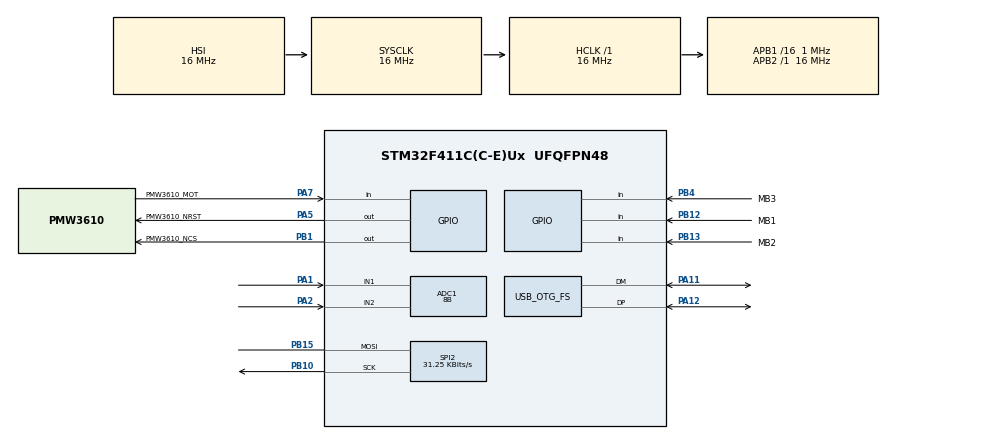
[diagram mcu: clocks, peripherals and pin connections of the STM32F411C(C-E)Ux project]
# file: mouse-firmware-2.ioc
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ADC1.Channel-2\#ChannelRegularConversion=ADC_CHANNEL_1
ADC1.Channel-3\#ChannelRegularConversion=ADC_CHANNEL_2
ADC1.ClockPrescaler=ADC_CLOCK_SYNC_PCLK_DIV2
ADC1.DiscontinuousConvMode=ENABLE
ADC1.NbrOfConversion=2
ADC1.NbrOfConversionFlag=1
ADC1.NbrOfDiscConversion=1
ADC1.Rank-2\#ChannelRegularConversion=1
ADC1.Rank-3\#ChannelRegularConversion=2
ADC1.Resolution=ADC_RESOLUTION_8B
ADC1.SamplingTime-2\#ChannelRegularConversion=ADC_SAMPLETIME_480CYCLES
ADC1.SamplingTime-3\#ChannelRegularConversion=ADC_SAMPLETIME_480CYCLES
ADC1.master=1
Mcu.Family=STM32F4
Mcu.Name=STM32F411C(C-E)Ux
Mcu.Package=UFQFPN48
NVIC.OTG_FS_IRQn=true\:0\:0\:false\:false\:true\:true\:true\:true
NVIC.PriorityGroup=NVIC_PRIORITYGROUP_4
PA1.Signal=ADCx_IN1
PA11.Mode=Device_Only
PA11.Signal=USB_OTG_FS_DM
PA12.Mode=Device_Only
PA12.Signal=USB_OTG_FS_DP
PA2.Signal=ADCx_IN2
PA5.GPIO_Label=PMW3610_NRST
PA5.Signal=GPIO_Output
PA7.GPIO_Label=PMW3610_MOT
PA7.Signal=GPIO_Input
PB1.GPIO_Label=PMW3610_NCS
PB1.Signal=GPIO_Output
PB10.Mode=Simplex_Bidirectional_Master
PB10.Signal=SPI2_SCK
PB12.GPIO_Label=MB1
PB12.Signal=GPIO_Input
PB13.GPIO_Label=MB2
PB13.Signal=GPIO_Input
PB15.Mode=Simplex_Bidirectional_Master
PB15.Signal=SPI2_MOSI
PB4.GPIO_Label=MB3
PB4.Signal=GPIO_Input
PH0\ -\ OSC_IN.Mode=HSE-External-Oscillator
PH0\ -\ OSC_IN.Signal=RCC_OSC_IN
PH1\ -\ OSC_OUT.Mode=HSE-External-Oscillator
PH1\ -\ OSC_OUT.Signal=RCC_OSC_OUT
ProjectManager.HeapSize=0x200
ProjectManager.StackSize=0x400
ProjectManager.TargetToolchain=STM32CubeIDE
RCC.48MHZClocksFreq_Value=48000000
RCC.AHBFreq_Value=16000000
RCC.APB1CLKDivider=RCC_HCLK_DIV16
RCC.APB1Freq_Value=1000000
RCC.APB1TimFreq_Value=2000000
RCC.APB2Freq_Value=16000000
RCC.APB2TimFreq_Value=16000000
RCC.CortexFreq_Value=16000000
RCC.HCLKFreq_Value=16000000
RCC.HSE_VALUE=8000000
RCC.HSI_VALUE=16000000
RCC.LSE_VALUE=32768
RCC.PLLM=4
RCC.PLLN=72
RCC.PLLQ=3
RCC.SYSCLKFreq_VALUE=16000000
RCC.VCOOutputFreq_Value=144000000
SH.ADCx_IN1.0=ADC1_IN1,IN1
SH.ADCx_IN2.0=ADC1_IN2,IN2
SPI2.BaudRatePrescaler=SPI_BAUDRATEPRESCALER_32
SPI2.CalculateBaudRate=31.25 KBits/s
SPI2.Direction=SPI_DIRECTION_1LINE
SPI2.Mode=SPI_MODE_MASTER
SPI2.VirtualType=VM_MASTER
USB_OTG_FS.VirtualMode=Device_Only
board=custom

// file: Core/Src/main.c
/* USER CODE BEGIN Header */
/**
  ******************************************************************************
  * @file           : main.c
  * @brief          : Main program body
  ******************************************************************************
  * @attention
  *
  * Copyright (c) 2025 STMicroelectronics.
  * All rights reserved.
  *
  * This software is licensed under terms that can be found in the LICENSE file
  * in the root directory of this software component.
  * If no LICENSE file comes with this software, it is provided AS-IS.
  *
  ******************************************************************************
  */
/* USER CODE END Header */
#include "main.h"

/* USER CODE BEGIN Includes */
#include "tusb.h"
#include "evcm.h"
#include "delay.h"
#include "pmw3610.h"
/* USER CODE END Includes */

ADC_HandleTypeDef hadc1;

SPI_HandleTypeDef hspi2;

PCD_HandleTypeDef hpcd_USB_OTG_FS;

/* USER CODE BEGIN PV */
MouseReport mouseReport = {0};
uint8_t update_required = 0;
uint32_t timestamp;
struct pmw3610_dev pmw3610;
struct pmw3610_values vals = {0};
/* USER CODE END PV */

void SystemClock_Config(void);
static void MX_GPIO_Init(void);
static void MX_USB_OTG_FS_PCD_Init(void);
static void MX_ADC1_Init(void);
static void MX_SPI2_Init(void);
/* USER CODE BEGIN PFP */
int8_t conv_delta_x(int16_t pmw3610_val);
int8_t conv_delta_y(int16_t pmw3610_val);
int8_t conv_scroll_data(uint32_t adc_value);
int8_t conv_pan_data(uint32_t adc_value);
/* USER CODE END PFP */

int main(void)
{

  /* MCU Configuration--------------------------------------------------------*/

  /* Reset of all peripherals, Initializes the Flash interface and the Systick. */
  HAL_Init();

  /* Configure the system clock */
  SystemClock_Config();

  /* Initialize all configured peripherals */
  MX_GPIO_Init();
  MX_USB_OTG_FS_PCD_Init();
  MX_ADC1_Init();
  MX_SPI2_Init();
  /* USER CODE BEGIN 2 */

  // Initialize delay functions
  delay_init();

  // Initialize pmw3610
	pmw3610.hspi_p = &hspi2;
	pmw3610.NCS_port_p = PMW3610_NCS_GPIO_Port;
	pmw3610.NCS_pin = PMW3610_NCS_Pin;
  HAL_GPIO_WritePin(PMW3610_NRST_GPIO_Port, PMW3610_NRST_Pin, PMW3610_NRST_SET);
  delay_ms(200);
  HAL_GPIO_WritePin(PMW3610_NRST_GPIO_Port, PMW3610_NRST_Pin, PMW3610_NRST_RESET);
  delay_ms(200);
  HAL_GPIO_WritePin(PMW3610_NRST_GPIO_Port, PMW3610_NRST_Pin, PMW3610_NRST_SET);
  delay_ms(200);
  HAL_StatusTypeDef pmw3610_result = pmw3610_init(&pmw3610);
  if (pmw3610_result != HAL_OK)
  {
  	__NOP();
  }
  __NOP();

  // Initialize tinyUSB
  tud_init(BOARD_TUD_RHPORT);

  /* USER CODE END 2 */

  /* Infinite loop */
  /* USER CODE BEGIN WHILE */
  while (1)
  {

  	// Reset loop values
  	timestamp = HAL_GetTick();
  	mouseReport.x = 0;
  	mouseReport.y = 0;

  	// Run TinyUSB task
  	tud_task();

  	//  Get cursor position data from optical sensor
  	if (HAL_GPIO_ReadPin(PMW3610_MOT_GPIO_Port, PMW3610_MOT_Pin) == PMW3610_MOT_PIN_SET)
  	{
  		pmw3610_result = pmw3610_get_values(&pmw3610, &vals);
  		if (pmw3610_result != HAL_OK)
  		{
  			__NOP();
  		}
  		else if (vals.valid == PMW3610_MOT_REG_INVAL)
  		{
  			__NOP();
  		}
  		else
  		{
  			mouseReport.x = conv_delta_x(vals.delta_x);
  			mouseReport.y = conv_delta_y(vals.delta_y);
  		}
  	}

  	// Get data from mouse buttons
  	mouseReport.left_button = HAL_GPIO_ReadPin(MB1_GPIO_Port, MB1_Pin) ^ 1;
  	mouseReport.right_button = HAL_GPIO_ReadPin(MB2_GPIO_Port, MB2_Pin) ^ 1;
  	mouseReport.middle_button = HAL_GPIO_ReadPin(MB3_GPIO_Port, MB3_Pin) ^ 1;

  	// Get scroll data
  	HAL_ADC_Start(&hadc1);
  	if (HAL_ADC_PollForConversion(&hadc1, 5) != HAL_OK)
  	{
  		Error_Handler();
  	}
  	mouseReport.scroll = conv_scroll_data(HAL_ADC_GetValue(&hadc1));

  	// Get pan data
  	HAL_ADC_Start(&hadc1);
  	if (HAL_ADC_PollForConversion(&hadc1, 5) != HAL_OK)
  	{
  		Error_Handler();
  	}
  	mouseReport.pan = conv_pan_data(HAL_ADC_GetValue(&hadc1));
  	HAL_ADC_Stop(&hadc1);	// ADC needs to be stopped after second conversion

  	// Send report
  	while (HAL_GetTick() - timestamp < 10);
  	evcm_send_mouse_report(mouseReport);

    /* USER CODE END WHILE */

  }
}

void SystemClock_Config(void)
{
  RCC_OscInitTypeDef RCC_OscInitStruct = {0};
  RCC_ClkInitTypeDef RCC_ClkInitStruct = {0};

  /** Configure the main internal regulator output voltage
  */
  __HAL_RCC_PWR_CLK_ENABLE();
  __HAL_PWR_VOLTAGESCALING_CONFIG(PWR_REGULATOR_VOLTAGE_SCALE1);

  /** Initializes the RCC Oscillators according to the specified parameters
  * in the RCC_OscInitTypeDef structure.
  */
  RCC_OscInitStruct.OscillatorType = RCC_OSCILLATORTYPE_HSI|RCC_OSCILLATORTYPE_HSE;
  RCC_OscInitStruct.HSEState = RCC_HSE_ON;
  RCC_OscInitStruct.HSIState = RCC_HSI_ON;
  RCC_OscInitStruct.HSICalibrationValue = RCC_HSICALIBRATION_DEFAULT;
  RCC_OscInitStruct.PLL.PLLState = RCC_PLL_ON;
  RCC_OscInitStruct.PLL.PLLSource = RCC_PLLSOURCE_HSE;
  RCC_OscInitStruct.PLL.PLLM = 4;
  RCC_OscInitStruct.PLL.PLLN = 72;
  RCC_OscInitStruct.PLL.PLLP = RCC_PLLP_DIV2;
  RCC_OscInitStruct.PLL.PLLQ = 3;
  if (HAL_RCC_OscConfig(&RCC_OscInitStruct) != HAL_OK)
  {
    Error_Handler();
  }

  /** Initializes the CPU, AHB and APB buses clocks
  */
  RCC_ClkInitStruct.ClockType = RCC_CLOCKTYPE_HCLK|RCC_CLOCKTYPE_SYSCLK
                              |RCC_CLOCKTYPE_PCLK1|RCC_CLOCKTYPE_PCLK2;
  RCC_ClkInitStruct.SYSCLKSource = RCC_SYSCLKSOURCE_HSI;
  RCC_ClkInitStruct.AHBCLKDivider = RCC_SYSCLK_DIV1;
  RCC_ClkInitStruct.APB1CLKDivider = RCC_HCLK_DIV16;
  RCC_ClkInitStruct.APB2CLKDivider = RCC_HCLK_DIV1;

  if (HAL_RCC_ClockConfig(&RCC_ClkInitStruct, FLASH_LATENCY_0) != HAL_OK)
  {
    Error_Handler();
  }
}

static void MX_ADC1_Init(void)
{

  ADC_ChannelConfTypeDef sConfig = {0};

  /** Configure the global features of the ADC (Clock, Resolution, Data Alignment and number of conversion)
  */
  hadc1.Instance = ADC1;
  hadc1.Init.ClockPrescaler = ADC_CLOCK_SYNC_PCLK_DIV2;
  hadc1.Init.Resolution = ADC_RESOLUTION_8B;
  hadc1.Init.ScanConvMode = ENABLE;
  hadc1.Init.ContinuousConvMode = DISABLE;
  hadc1.Init.DiscontinuousConvMode = ENABLE;
  hadc1.Init.NbrOfDiscConversion = 1;
  hadc1.Init.ExternalTrigConvEdge = ADC_EXTERNALTRIGCONVEDGE_NONE;
  hadc1.Init.ExternalTrigConv = ADC_SOFTWARE_START;
  hadc1.Init.DataAlign = ADC_DATAALIGN_RIGHT;
  hadc1.Init.NbrOfConversion = 2;
  hadc1.Init.DMAContinuousRequests = DISABLE;
  hadc1.Init.EOCSelection = ADC_EOC_SINGLE_CONV;
  if (HAL_ADC_Init(&hadc1) != HAL_OK)
  {
    Error_Handler();
  }

  /** Configure for the selected ADC regular channel its corresponding rank in the sequencer and its sample time.
  */
  sConfig.Channel = ADC_CHANNEL_1;
  sConfig.Rank = 1;
  sConfig.SamplingTime = ADC_SAMPLETIME_480CYCLES;
  if (HAL_ADC_ConfigChannel(&hadc1, &sConfig) != HAL_OK)
  {
    Error_Handler();
  }

  /** Configure for the selected ADC regular channel its corresponding rank in the sequencer and its sample time.
  */
  sConfig.Channel = ADC_CHANNEL_2;
  sConfig.Rank = 2;
  if (HAL_ADC_ConfigChannel(&hadc1, &sConfig) != HAL_OK)
  {
    Error_Handler();
  }

}

static void MX_SPI2_Init(void)
{

  /* SPI2 parameter configuration*/
  hspi2.Instance = SPI2;
  hspi2.Init.Mode = SPI_MODE_MASTER;
  hspi2.Init.Direction = SPI_DIRECTION_1LINE;
  hspi2.Init.DataSize = SPI_DATASIZE_8BIT;
  hspi2.Init.CLKPolarity = SPI_POLARITY_LOW;
  hspi2.Init.CLKPhase = SPI_PHASE_1EDGE;
  hspi2.Init.NSS = SPI_NSS_SOFT;
  hspi2.Init.BaudRatePrescaler = SPI_BAUDRATEPRESCALER_32;
  hspi2.Init.FirstBit = SPI_FIRSTBIT_MSB;
  hspi2.Init.TIMode = SPI_TIMODE_DISABLE;
  hspi2.Init.CRCCalculation = SPI_CRCCALCULATION_DISABLE;
  hspi2.Init.CRCPolynomial = 10;
  if (HAL_SPI_Init(&hspi2) != HAL_OK)
  {
    Error_Handler();
  }

}

static void MX_USB_OTG_FS_PCD_Init(void)
{

  hpcd_USB_OTG_FS.Instance = USB_OTG_FS;
  hpcd_USB_OTG_FS.Init.dev_endpoints = 4;
  hpcd_USB_OTG_FS.Init.speed = PCD_SPEED_FULL;
  hpcd_USB_OTG_FS.Init.dma_enable = DISABLE;
  hpcd_USB_OTG_FS.Init.phy_itface = PCD_PHY_EMBEDDED;
  hpcd_USB_OTG_FS.Init.Sof_enable = DISABLE;
  hpcd_USB_OTG_FS.Init.low_power_enable = DISABLE;
  hpcd_USB_OTG_FS.Init.lpm_enable = DISABLE;
  hpcd_USB_OTG_FS.Init.vbus_sensing_enable = DISABLE;
  hpcd_USB_OTG_FS.Init.use_dedicated_ep1 = DISABLE;
  if (HAL_PCD_Init(&hpcd_USB_OTG_FS) != HAL_OK)
  {
    Error_Handler();
  }

}

static void MX_GPIO_Init(void)
{
  GPIO_InitTypeDef GPIO_InitStruct = {0};

  /* GPIO Ports Clock Enable */
  __HAL_RCC_GPIOH_CLK_ENABLE();
  __HAL_RCC_GPIOA_CLK_ENABLE();
  __HAL_RCC_GPIOB_CLK_ENABLE();

  /*Configure GPIO pin Output Level */
  HAL_GPIO_WritePin(PMW3610_NRST_GPIO_Port, PMW3610_NRST_Pin, GPIO_PIN_RESET);

  /*Configure GPIO pin Output Level */
  HAL_GPIO_WritePin(PMW3610_NCS_GPIO_Port, PMW3610_NCS_Pin, GPIO_PIN_RESET);

  /*Configure GPIO pin : PMW3610_NRST_Pin */
  GPIO_InitStruct.Pin = PMW3610_NRST_Pin;
  GPIO_InitStruct.Mode = GPIO_MODE_OUTPUT_PP;
  GPIO_InitStruct.Pull = GPIO_NOPULL;
  GPIO_InitStruct.Speed = GPIO_SPEED_FREQ_LOW;
  HAL_GPIO_Init(PMW3610_NRST_GPIO_Port, &GPIO_InitStruct);

  /*Configure GPIO pin : PMW3610_MOT_Pin */
  GPIO_InitStruct.Pin = PMW3610_MOT_Pin;
  GPIO_InitStruct.Mode = GPIO_MODE_INPUT;
  GPIO_InitStruct.Pull = GPIO_NOPULL;
  HAL_GPIO_Init(PMW3610_MOT_GPIO_Port, &GPIO_InitStruct);

  /*Configure GPIO pin : PMW3610_NCS_Pin */
  GPIO_InitStruct.Pin = PMW3610_NCS_Pin;
  GPIO_InitStruct.Mode = GPIO_MODE_OUTPUT_PP;
  GPIO_InitStruct.Pull = GPIO_NOPULL;
  GPIO_InitStruct.Speed = GPIO_SPEED_FREQ_LOW;
  HAL_GPIO_Init(PMW3610_NCS_GPIO_Port, &GPIO_InitStruct);

  /*Configure GPIO pins : MB1_Pin MB2_Pin MB3_Pin */
  GPIO_InitStruct.Pin = MB1_Pin|MB2_Pin|MB3_Pin;
  GPIO_InitStruct.Mode = GPIO_MODE_INPUT;
  GPIO_InitStruct.Pull = GPIO_NOPULL;
  HAL_GPIO_Init(GPIOB, &GPIO_InitStruct);

}

/* USER CODE BEGIN 4 */
// input: 12-bit signed value
int8_t conv_delta_x(int16_t pmw3610_val)
{
	int16_t tmp = (pmw3610_val / 2);
	if (tmp >= 127)
	{
		return 127;
	}
	else if (tmp <= -128)
	{
		return -128;
	}
	return (int8_t)tmp;
}

// input: 12-bit signed value
int8_t conv_delta_y(int16_t pmw3610_val)
{
	int16_t tmp = (pmw3610_val / 2);
	if (tmp >= 127)
	{
		return 127;
	}
	else if (tmp <= -128)
	{
		return -128;
	}
	return (int8_t)tmp;
}

// input: 8-bit unsigned value
int8_t conv_scroll_data(uint32_t adc_value)
{
	if (adc_value >= 180) return 30;
	if (adc_value >= 80) return 0;
	return -30;
}

// input: 8-bit unsigned value
int8_t conv_pan_data(uint32_t adc_value)
{
	if (adc_value >= 180) return 30;
	if (adc_value >= 80) return 0;
	return -30;
}

/* USER CODE END 4 */

void Error_Handler(void)
{
  /* USER CODE BEGIN Error_Handler_Debug */
  /* User can add his own implementation to report the HAL error return state */
  __disable_irq();
  while (1)
  {
  	__NOP();
  }
  /* USER CODE END Error_Handler_Debug */
}
